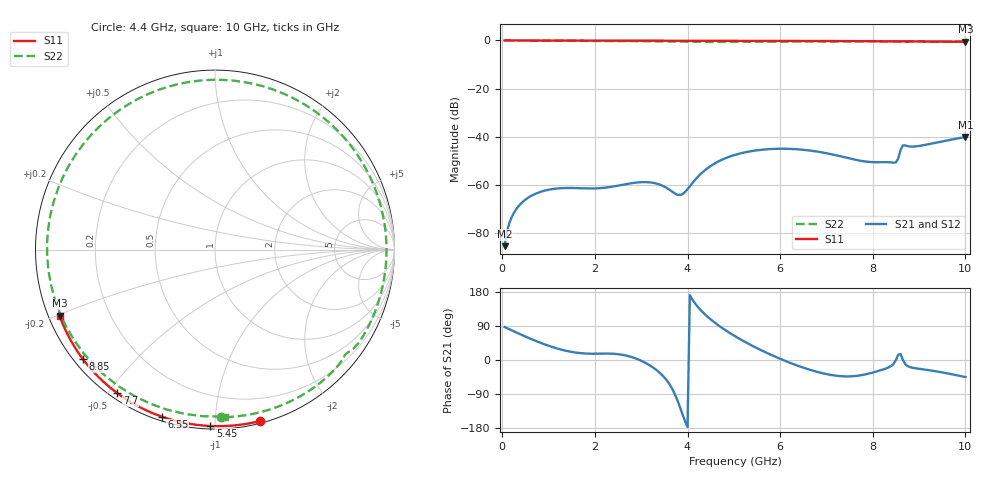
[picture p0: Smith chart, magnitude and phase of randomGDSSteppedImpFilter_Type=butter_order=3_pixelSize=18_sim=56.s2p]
! freq	dB(S11)	phase(S11)	dB(S12)	phase(S12)
!  dB(S21)	phase(S21)	dB(S22)	phase(S22)
!S-par simulation data
#  GHz  S  DB  R 50
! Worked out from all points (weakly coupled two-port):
!   200 points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, 50 MHz to 10 GHz, reference 50 ohm
!   highest |S21| = -40.09 dB at 10 GHz (marker M1); lowest = -85.4 dB at 50 MHz (marker M2)
!   lowest |S11| = -0.5 dB at 10 GHz (marker M3), VSWR 32.89, Z = 1.58 - j10.2 ohm
!   |S11| at or under -10 dB: nowhere
!   |S22| runs from -0.6 to 0.0 dB; largest |S21 - S12| = 0
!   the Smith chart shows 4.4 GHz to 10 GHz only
!   S11 on the Smith chart (normalised r, x): 4.4 GHz: 0.02, -1.30; 5.45 GHz: 0.02, -0.97; 6.55 GHz: 0.02, -0.73; 7.7 GHz: 0.02, -0.53; 8.85 GHz: 0.03, -0.36; 10 GHz: 0.03, -0.20
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0.05  -0.00 -0.9  -85.39 87.1  -85.39 87.1  -0.00 -5.0
0.35  -0.01 -6.3  -68.82 70.0  -68.82 70.0  -0.05 -34.2
0.85  -0.02 -15.3  -62.69 44.2  -62.69 44.2  -0.10 -80.7
1.25  -0.03 -22.4  -61.35 28.1  -61.35 28.1  -0.14 -115.3
1.75  -0.04 -31.2  -61.37 17.5  -61.37 17.5  -0.17 -156.2
2.3  -0.05 -40.7  -60.92 16.9  -60.92 16.9  -0.22 158.7
2.8  -0.06 -49.2  -59.22 7.6  -59.22 7.6  -0.29 113.5
3.1  -0.07 -54.3  -58.81 -8.1  -58.81 -8.1  -0.35 82.4
3.4  -0.08 -59.2  -59.83 -33.9  -59.83 -33.9  -0.43 47.2
3.85  -0.09 -66.6  -64.12 -129.4  -64.12 -129.4  -0.55 -12.6
4.15  -0.10 -71.4  -58.16 151.5  -58.16 151.5  -0.61 -54.4
4.4  -0.11 -75.3  -53.50 117.8  -53.50 117.8  -0.62 -87.9
5.05  -0.13 -85.4  -47.35 61.0  -47.35 61.0  -0.59 -163.0
5.45  -0.15 -91.5  -45.73 34.3  -45.73 34.3  -0.55 158.8
6  -0.18 -99.7  -44.95 3.1  -44.95 3.1  -0.51 113.3
6.55  -0.21 -107.7  -45.48 -22.2  -45.48 -22.2  -0.46 73.4
6.7  -0.22 -109.9  -45.84 -27.9  -45.84 -27.9  -0.45 63.4
7.7  -0.29 -124.2  -49.81 -41.2  -49.81 -41.2  -0.40 4.9
8.35  -0.34 -133.4  -50.54 -19.1  -50.54 -19.1  -0.39 -26.2
8.65  -0.37 -137.6  -43.56 0.5  -43.56 0.5  -0.61 -38.8
8.85  -0.39 -140.5  -44.06 -20.2  -44.06 -20.2  -0.50 -46.3
10  -0.53 -157.0  -40.09 -45.0  -40.09 -45.0  -0.58 -86.6
